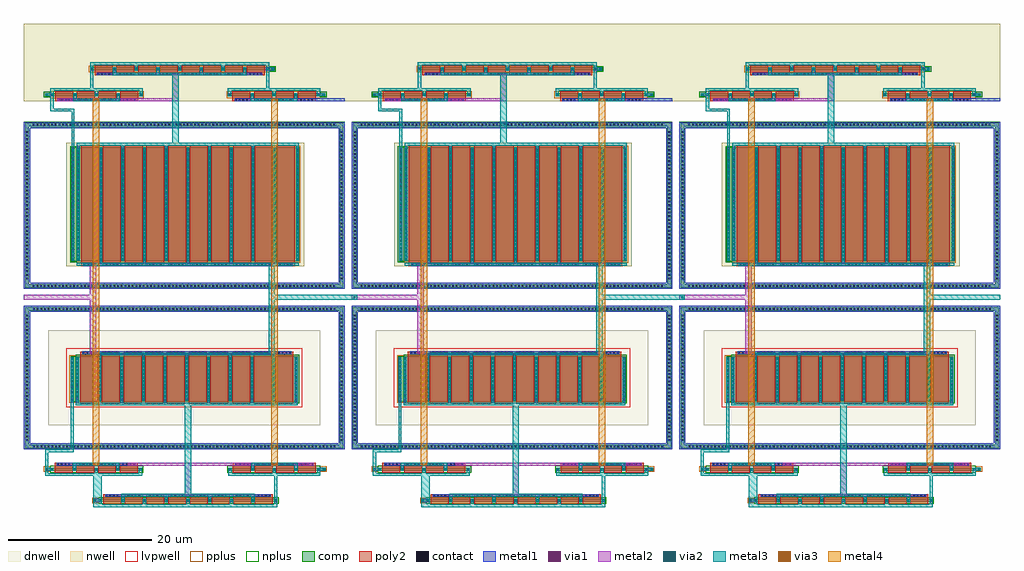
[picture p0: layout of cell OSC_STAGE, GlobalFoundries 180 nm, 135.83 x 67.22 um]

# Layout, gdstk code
from math import pi, radians
import gdstk
lib = gdstk.Library(unit=1e-6, precision=5e-09)
def R(c, l, rs):  # rectangles x0, y0, x1, y1
    for r in rs: c.add(gdstk.rectangle(r[:2], r[2:], *l))
def A(c, l, x, y, w, h, nx, ny, dx, dy):  # array of equal rectangles
    R(c, l, [(x+i*dx, y+j*dy, x+i*dx+w, y+j*dy+h) for i in range(nx) for j in range(ny)])
def P(c, l, *ps):  # polygons
    for p in ps: c.add(gdstk.Polygon(p, *l))
dnwell = (12, 0)
nwell = (21, 0)
comp = (22, 0)
poly2 = (30, 0)
pplus = (31, 0)
nplus = (32, 0)
contact = (33, 0)
metal1 = (34, 0)
via1 = (35, 0)
metal2 = (36, 0)
via2 = (38, 0)
via3 = (40, 0)
metal3 = (42, 0)
metal4 = (46, 0)
lvpwell = (204, 0)

nfet_2 = lib.new_cell('nfet$2')
R(nfet_2, comp, [(-0.42,-0.01,0,0.43), (11.94,-0.01,12.36,0.43), (12.36,-0.01,13.07,0.43), (0,0,11.94,0.42)])
A(nfet_2, poly2, 0.19, -0.3, 2.5, 1.02, 4, 1, 3.02, 0)
A(nfet_2, poly2, 0.19, 0.72, 2.5, 0.36, 4, 1, 3.02, 0)
R(nfet_2, pplus, [(12.36,-0.17,13.24,0.59)])
R(nfet_2, nplus, [(-0.59,-0.25,12.36,0.67)])
A(nfet_2, contact, 2.84, 0.1, 0.22, 0.22, 3, 1, 3.02, 0)
A(nfet_2, contact, 0.565, 0.79, 0.22, 0.22, 4, 1, 0.51, 0)
A(nfet_2, contact, 3.585, 0.79, 0.22, 0.22, 4, 1, 0.51, 0)
A(nfet_2, contact, 6.605, 0.79, 0.22, 0.22, 4, 1, 0.51, 0)
A(nfet_2, contact, 9.625, 0.79, 0.22, 0.22, 4, 1, 0.51, 0)
R(nfet_2, contact, [(-0.32,0.1,-0.1,0.32), (12.04,0.1,12.26,0.32), (12.75,0.1,12.97,0.32)])
A(nfet_2, metal1, 2.76, 0.02, 0.38, 0.38, 3, 1, 3.02, 0)
A(nfet_2, metal1, 0.485, 0.71, 1.91, 0.38, 4, 1, 3.02, 0)
R(nfet_2, metal1, [(-0.4,0.02,-0.02,0.4), (11.96,0.02,12.34,0.4), (12.67,0.02,13.05,0.4)])

pfet_6 = lib.new_cell('pfet$6')
R(pfet_6, nwell, [(-1.16,-0.71,13.83,1.13)])
R(pfet_6, comp, [(-0.46,-0.01,0,0.43), (11.94,-0.01,12.4,0.43), (12.4,-0.01,13.13,0.43), (0,0,11.94,0.42)])
A(pfet_6, poly2, 0.19, -0.3, 2.5, 1.02, 4, 1, 3.02, 0)
A(pfet_6, poly2, 0.19, 0.72, 2.5, 0.38, 4, 1, 3.02, 0)
R(pfet_6, pplus, [(-0.63,-0.25,12.4,0.67)])
R(pfet_6, nplus, [(12.4,-0.17,13.3,0.59)])
A(pfet_6, contact, 2.84, 0.1, 0.22, 0.22, 3, 1, 3.02, 0)
A(pfet_6, contact, 0.565, 0.8, 0.22, 0.22, 4, 1, 0.51, 0)
A(pfet_6, contact, 3.585, 0.8, 0.22, 0.22, 4, 1, 0.51, 0)
A(pfet_6, contact, 6.605, 0.8, 0.22, 0.22, 4, 1, 0.51, 0)
A(pfet_6, contact, 9.625, 0.8, 0.22, 0.22, 4, 1, 0.51, 0)
R(pfet_6, contact, [(-0.34,0.1,-0.12,0.32), (12.06,0.1,12.28,0.32), (12.79,0.1,13.01,0.32)])
A(pfet_6, metal1, 2.76, 0.02, 0.38, 0.38, 3, 1, 3.02, 0)
A(pfet_6, metal1, 0.485, 0.72, 1.91, 0.38, 4, 1, 3.02, 0)
R(pfet_6, metal1, [(-0.42,0.02,-0.04,0.4), (11.98,0.02,12.36,0.4), (12.71,0.02,13.09,0.4)])

pfet_7 = lib.new_cell('pfet$7')
R(pfet_7, nwell, [(-1.16,-0.71,13.83,1.13)])
R(pfet_7, comp, [(-0.46,-0.01,0,0.43), (11.94,-0.01,12.4,0.43), (12.4,-0.01,13.13,0.43), (0,0,11.94,0.42)])
A(pfet_7, poly2, 0.19, -0.3, 2.5, 1.02, 4, 1, 3.02, 0)
A(pfet_7, poly2, 0.19, 0.72, 2.5, 0.38, 4, 1, 3.02, 0)
R(pfet_7, pplus, [(-0.63,-0.25,12.4,0.67)])
R(pfet_7, nplus, [(12.4,-0.17,13.3,0.59)])
A(pfet_7, contact, 2.84, 0.1, 0.22, 0.22, 3, 1, 3.02, 0)
A(pfet_7, contact, 0.565, 0.8, 0.22, 0.22, 4, 1, 0.51, 0)
A(pfet_7, contact, 3.585, 0.8, 0.22, 0.22, 4, 1, 0.51, 0)
A(pfet_7, contact, 6.605, 0.8, 0.22, 0.22, 4, 1, 0.51, 0)
A(pfet_7, contact, 9.625, 0.8, 0.22, 0.22, 4, 1, 0.51, 0)
R(pfet_7, contact, [(-0.34,0.1,-0.12,0.32), (12.06,0.1,12.28,0.32), (12.79,0.1,13.01,0.32)])
A(pfet_7, metal1, 2.76, 0.02, 0.38, 0.38, 3, 1, 3.02, 0)
A(pfet_7, metal1, 0.485, 0.72, 1.91, 0.38, 4, 1, 3.02, 0)
R(pfet_7, metal1, [(-0.42,0.02,-0.04,0.4), (11.98,0.02,12.36,0.4), (12.71,0.02,13.09,0.4)])

pfet = lib.new_cell('pfet')
R(pfet, nwell, [(-1.16,-0.71,25.91,1.13)])
R(pfet, comp, [(-0.46,-0.01,0,0.43), (24.02,-0.01,24.48,0.43), (24.48,-0.01,25.21,0.43), (0,0,24.02,0.42)])
A(pfet, poly2, 0.19, -0.3, 2.5, 1.02, 8, 1, 3.02, 0)
A(pfet, poly2, 0.19, 0.72, 2.5, 0.38, 8, 1, 3.02, 0)
R(pfet, pplus, [(-0.63,-0.25,24.48,0.67)])
R(pfet, nplus, [(24.48,-0.17,25.38,0.59)])
A(pfet, contact, 2.84, 0.1, 0.22, 0.22, 7, 1, 3.02, 0)
A(pfet, contact, 0.565, 0.8, 0.22, 0.22, 4, 1, 0.51, 0)
A(pfet, contact, 3.585, 0.8, 0.22, 0.22, 4, 1, 0.51, 0)
A(pfet, contact, 6.605, 0.8, 0.22, 0.22, 4, 1, 0.51, 0)
A(pfet, contact, 9.625, 0.8, 0.22, 0.22, 4, 1, 0.51, 0)
A(pfet, contact, 12.645, 0.8, 0.22, 0.22, 4, 1, 0.51, 0)
A(pfet, contact, 15.665, 0.8, 0.22, 0.22, 4, 1, 0.51, 0)
A(pfet, contact, 18.685, 0.8, 0.22, 0.22, 4, 1, 0.51, 0)
A(pfet, contact, 21.705, 0.8, 0.22, 0.22, 4, 1, 0.51, 0)
R(pfet, contact, [(-0.34,0.1,-0.12,0.32), (24.14,0.1,24.36,0.32), (24.87,0.1,25.09,0.32)])
A(pfet, metal1, 2.76, 0.02, 0.38, 0.38, 7, 1, 3.02, 0)
A(pfet, metal1, 0.485, 0.72, 1.91, 0.38, 8, 1, 3.02, 0)
R(pfet, metal1, [(-0.42,0.02,-0.04,0.4), (24.06,0.02,24.44,0.4), (24.79,0.02,25.17,0.4)])

nfet_1 = lib.new_cell('nfet$1')
R(nfet_1, comp, [(-0.42,-0.01,0,0.43), (24.02,-0.01,24.44,0.43), (24.44,-0.01,25.15,0.43), (0,0,24.02,0.42)])
A(nfet_1, poly2, 0.19, -0.3, 2.5, 1.02, 8, 1, 3.02, 0)
A(nfet_1, poly2, 0.19, 0.72, 2.5, 0.36, 8, 1, 3.02, 0)
R(nfet_1, pplus, [(24.44,-0.17,25.32,0.59)])
R(nfet_1, nplus, [(-0.59,-0.25,24.44,0.67)])
A(nfet_1, contact, 2.84, 0.1, 0.22, 0.22, 7, 1, 3.02, 0)
A(nfet_1, contact, 0.565, 0.79, 0.22, 0.22, 4, 1, 0.51, 0)
A(nfet_1, contact, 3.585, 0.79, 0.22, 0.22, 4, 1, 0.51, 0)
A(nfet_1, contact, 6.605, 0.79, 0.22, 0.22, 4, 1, 0.51, 0)
A(nfet_1, contact, 9.625, 0.79, 0.22, 0.22, 4, 1, 0.51, 0)
A(nfet_1, contact, 12.645, 0.79, 0.22, 0.22, 4, 1, 0.51, 0)
A(nfet_1, contact, 15.665, 0.79, 0.22, 0.22, 4, 1, 0.51, 0)
A(nfet_1, contact, 18.685, 0.79, 0.22, 0.22, 4, 1, 0.51, 0)
A(nfet_1, contact, 21.705, 0.79, 0.22, 0.22, 4, 1, 0.51, 0)
R(nfet_1, contact, [(-0.32,0.1,-0.1,0.32), (24.12,0.1,24.34,0.32), (24.83,0.1,25.05,0.32)])
A(nfet_1, metal1, 2.76, 0.02, 0.38, 0.38, 7, 1, 3.02, 0)
A(nfet_1, metal1, 0.485, 0.71, 1.91, 0.38, 8, 1, 3.02, 0)
R(nfet_1, metal1, [(-0.4,0.02,-0.02,0.4), (24.04,0.02,24.42,0.4), (24.75,0.02,25.13,0.4)])

nfet_10 = lib.new_cell('nfet$10')
R(nfet_10, dnwell, [(-3.55,-3.26,34.32,9.96)])
R(nfet_10, comp, [(-0.42,0,0,6.33), (0,0,30.06,6.33), (30.06,0,30.48,6.33), (30.48,0,31.19,6.33)])
P(nfet_10, comp, [(-6.75,-6.46),(-6.75,12.66),(-6.25,12.66),(-6.25,-5.96),(37.02,-5.96),(37.02,12.66),(-6.75,12.66),(-6.75,13.16),(37.52,13.16),(37.52,-6.46)])
A(nfet_10, poly2, 0.19, -0.3, 2.5, 6.93, 10, 1, 3.02, 0)
A(nfet_10, poly2, 0.19, 6.63, 2.5, 0.36, 10, 1, 3.02, 0)
R(nfet_10, pplus, [(30.48,-0.17,31.36,6.5)])
P(nfet_10, pplus, [(-6.92,-6.63),(-6.92,12.49),(-6.08,12.49),(-6.08,-5.79),(36.85,-5.79),(36.85,12.49),(-6.92,12.49),(-6.92,13.33),(37.69,13.33),(37.69,-6.63)])
R(nfet_10, nplus, [(-0.59,-0.24,30.48,6.57)])
A(nfet_10, contact, -5.635, -6.32, 0.22, 0.22, 83, 2, 0.51, 19.12)
A(nfet_10, contact, -6.61, -5.43, 0.22, 0.22, 1, 35, 0, 0.51)
A(nfet_10, contact, 37.16, -5.43, 0.22, 0.22, 1, 35, 0, 0.51)
A(nfet_10, contact, -0.32, 0.25, 0.22, 0.22, 1, 12, 0, 0.51)
A(nfet_10, contact, 2.84, 0.25, 0.22, 0.22, 9, 12, 3.02, 0.51)
A(nfet_10, contact, 30.16, 0.25, 0.22, 0.22, 1, 12, 0, 0.51)
A(nfet_10, contact, 30.87, 0.25, 0.22, 0.22, 1, 12, 0, 0.51)
A(nfet_10, contact, 0.565, 6.7, 0.22, 0.22, 4, 1, 0.51, 0)
A(nfet_10, contact, 3.585, 6.7, 0.22, 0.22, 4, 1, 0.51, 0)
A(nfet_10, contact, 6.605, 6.7, 0.22, 0.22, 4, 1, 0.51, 0)
A(nfet_10, contact, 9.625, 6.7, 0.22, 0.22, 4, 1, 0.51, 0)
A(nfet_10, contact, 12.645, 6.7, 0.22, 0.22, 4, 1, 0.51, 0)
A(nfet_10, contact, 15.665, 6.7, 0.22, 0.22, 4, 1, 0.51, 0)
A(nfet_10, contact, 18.685, 6.7, 0.22, 0.22, 4, 1, 0.51, 0)
A(nfet_10, contact, 21.705, 6.7, 0.22, 0.22, 4, 1, 0.51, 0)
A(nfet_10, contact, 24.725, 6.7, 0.22, 0.22, 4, 1, 0.51, 0)
A(nfet_10, contact, 27.745, 6.7, 0.22, 0.22, 4, 1, 0.51, 0)
A(nfet_10, metal1, 2.76, 0.17, 0.38, 5.99, 9, 1, 3.02, 0)
A(nfet_10, metal1, 0.485, 6.62, 1.91, 0.38, 10, 1, 3.02, 0)
R(nfet_10, metal1, [(-0.4,0.17,-0.02,6.16), (30.08,0.17,30.46,6.16), (30.79,0.17,31.17,6.16)])
R(nfet_10, lvpwell, [(-1.04,-0.75,31.81,7.45)])

nfet = lib.new_cell('nfet')
R(nfet, comp, [(-0.42,-0.01,0,0.43), (11.94,-0.01,12.36,0.43), (12.36,-0.01,13.07,0.43), (0,0,11.94,0.42)])
A(nfet, poly2, 0.19, -0.3, 2.5, 1.02, 4, 1, 3.02, 0)
A(nfet, poly2, 0.19, 0.72, 2.5, 0.36, 4, 1, 3.02, 0)
R(nfet, pplus, [(12.36,-0.17,13.24,0.59)])
R(nfet, nplus, [(-0.59,-0.25,12.36,0.67)])
A(nfet, contact, 2.84, 0.1, 0.22, 0.22, 3, 1, 3.02, 0)
A(nfet, contact, 0.565, 0.79, 0.22, 0.22, 4, 1, 0.51, 0)
A(nfet, contact, 3.585, 0.79, 0.22, 0.22, 4, 1, 0.51, 0)
A(nfet, contact, 6.605, 0.79, 0.22, 0.22, 4, 1, 0.51, 0)
A(nfet, contact, 9.625, 0.79, 0.22, 0.22, 4, 1, 0.51, 0)
R(nfet, contact, [(-0.32,0.1,-0.1,0.32), (12.04,0.1,12.26,0.32), (12.75,0.1,12.97,0.32)])
A(nfet, metal1, 2.76, 0.02, 0.38, 0.38, 3, 1, 3.02, 0)
A(nfet, metal1, 0.485, 0.71, 1.91, 0.38, 4, 1, 3.02, 0)
R(nfet, metal1, [(-0.4,0.02,-0.02,0.4), (11.96,0.02,12.34,0.4), (12.67,0.02,13.05,0.4)])

pfet_4 = lib.new_cell('pfet$4')
R(pfet_4, nwell, [(-1.15,-0.69,31.94,16.515)])
R(pfet_4, comp, [(-0.46,0,0,15.825), (0,0,30.06,15.825), (30.06,0,30.52,15.825), (30.52,0,31.25,15.825)])
A(pfet_4, poly2, 0.19, -0.68, 2.5, 0.38, 10, 1, 3.02, 0)
A(pfet_4, poly2, 0.19, -0.3, 2.5, 16.425, 10, 1, 3.02, 0)
R(pfet_4, pplus, [(-0.63,-0.24,30.52,16.065)])
R(pfet_4, nplus, [(30.52,-0.17,31.42,15.995)])
A(pfet_4, contact, 0.565, -0.6, 0.22, 0.22, 4, 1, 0.51, 0)
A(pfet_4, contact, 3.585, -0.6, 0.22, 0.22, 4, 1, 0.51, 0)
A(pfet_4, contact, 6.605, -0.6, 0.22, 0.22, 4, 1, 0.51, 0)
A(pfet_4, contact, 9.625, -0.6, 0.22, 0.22, 4, 1, 0.51, 0)
A(pfet_4, contact, 12.645, -0.6, 0.22, 0.22, 4, 1, 0.51, 0)
A(pfet_4, contact, 15.665, -0.6, 0.22, 0.22, 4, 1, 0.51, 0)
A(pfet_4, contact, 18.685, -0.6, 0.22, 0.22, 4, 1, 0.51, 0)
A(pfet_4, contact, 21.705, -0.6, 0.22, 0.22, 4, 1, 0.51, 0)
A(pfet_4, contact, 24.725, -0.6, 0.22, 0.22, 4, 1, 0.51, 0)
A(pfet_4, contact, 27.745, -0.6, 0.22, 0.22, 4, 1, 0.51, 0)
A(pfet_4, contact, -0.34, 0.155, 0.22, 0.22, 1, 31, 0, 0.51)
A(pfet_4, contact, 2.84, 0.155, 0.22, 0.22, 9, 31, 3.02, 0.51)
A(pfet_4, contact, 30.18, 0.155, 0.22, 0.22, 1, 31, 0, 0.51)
A(pfet_4, contact, 30.91, 0.155, 0.22, 0.22, 1, 31, 0, 0.51)
A(pfet_4, metal1, 0.485, -0.68, 1.91, 0.38, 10, 1, 3.02, 0)
A(pfet_4, metal1, 2.76, 0.075, 0.38, 15.68, 9, 1, 3.02, 0)
R(pfet_4, metal1, [(-0.42,0.075,-0.04,15.755), (30.1,0.075,30.48,15.755), (30.83,0.075,31.21,15.755)])

osc_inv_v2 = lib.new_cell('OSC_INV_v2')
R(osc_inv_v2, nwell, [(0,-306.74,44.61,-295.98)])
R(osc_inv_v2, comp, [(0.17,-332.67,43.93,-332.17), (43.93,-332.67,44.43,-310.23), (0.17,-332.17,0.67,-310.23), (0.17,-310.23,44.43,-309.73)])
R(osc_inv_v2, nplus, [(0,-332.83,43.77,-331.99), (43.77,-332.83,44.61,-310.41), (0,-331.99,0.84,-310.41), (0,-310.41,44.61,-309.57)])
A(osc_inv_v2, contact, 1.33, -332.53, 0.22, 0.22, 83, 2, 0.51, 22.44)
A(osc_inv_v2, contact, 0.31, -331.51, 0.22, 0.22, 1, 41, 0, 0.51)
A(osc_inv_v2, contact, 44.07, -331.51, 0.22, 0.22, 1, 41, 0, 0.51)
R(osc_inv_v2, metal1, [(12.175,-361.78,32.925,-361.4), (5.465,-357.44,14.765,-357.06), (29.53,-357.44,38.675,-357.06), (0,-355.18,43.77,-354.34), (43.77,-355.18,44.61,-336.06), (0,-354.34,0.84,-336.06), (9.315,-341.93,34.75,-341.55), (0,-336.06,44.61,-335.22), (0,-332.83,43.77,-331.99), (43.77,-332.83,44.61,-310.46), (0,-331.99,0.84,-310.46), (9.165,-329.67,35.66,-329.29), (0,-310.46,44.61,-309.62), (0,-306.71,4.335,-306.33), (6.245,-306.71,14.06,-306.33), (29.56,-306.71,38.085,-306.33), (13.33,-303.12,33.65,-302.74)])
A(osc_inv_v2, via1, 12.6, -362.41, 0.26, 0.26, 7, 1, 3.02, 0)
A(osc_inv_v2, via1, 6.61, -358.07, 0.26, 0.26, 3, 1, 3.02, 0)
A(osc_inv_v2, via1, 31.42, -358.07, 0.26, 0.26, 3, 1, 3.02, 0)
A(osc_inv_v2, via1, 6.58, -347.92, 0.26, 0.26, 1, 11, 0, 0.52)
A(osc_inv_v2, via1, 9.74, -347.92, 0.26, 0.26, 9, 11, 3.02, 0.52)
A(osc_inv_v2, via1, 37.06, -347.92, 0.26, 0.26, 1, 11, 0, 0.52)
A(osc_inv_v2, via1, 37.77, -347.92, 0.26, 0.26, 1, 11, 0, 0.52)
A(osc_inv_v2, via1, 6.41, -328.85, 0.26, 0.26, 1, 30, 0, 0.52)
A(osc_inv_v2, via1, 9.59, -328.85, 0.26, 0.26, 9, 30, 3.02, 0.52)
A(osc_inv_v2, via1, 36.93, -328.85, 0.26, 0.26, 1, 30, 0, 0.52)
A(osc_inv_v2, via1, 37.66, -328.85, 0.26, 0.26, 1, 30, 0, 0.52)
A(osc_inv_v2, via1, 6.67, -305.95, 0.26, 0.26, 3, 1, 3.02, 0)
A(osc_inv_v2, via1, 31.36, -305.95, 0.26, 0.26, 3, 1, 3.02, 0)
A(osc_inv_v2, via1, 13.755, -302.36, 0.26, 0.26, 7, 1, 3.02, 0)
R(osc_inv_v2, via1, [(9.44,-362.41,9.7,-362.15), (33.88,-362.41,34.14,-362.15), (34.59,-362.41,34.85,-362.15), (21.395,-361.72,21.655,-361.46), (21.915,-361.72,22.175,-361.46), (2.74,-358.07,3,-357.81), (3.45,-358.07,3.71,-357.81), (15.81,-358.07,16.07,-357.81), (28.26,-358.07,28.52,-357.81), (40.62,-358.07,40.88,-357.81), (41.33,-358.07,41.59,-357.81), (5.035,-357.38,5.295,-357.12), (5.555,-357.38,5.815,-357.12), (5.555,-357.38,5.815,-357.12), (5.555,-357.38,5.815,-357.12), (6.075,-357.38,6.335,-357.12), (6.075,-357.38,6.335,-357.12), (6.075,-357.38,6.335,-357.12), (6.595,-357.38,6.855,-357.12), (6.595,-357.38,6.855,-357.12), (6.595,-357.38,6.855,-357.12), (7.115,-357.38,7.375,-357.12), (7.115,-357.38,7.375,-357.12), (7.115,-357.38,7.375,-357.12), (7.635,-357.38,7.895,-357.12), (7.635,-357.38,7.895,-357.12), (7.635,-357.38,7.895,-357.12), (8.155,-357.38,8.415,-357.12), (8.155,-357.38,8.415,-357.12), (8.155,-357.38,8.415,-357.12), (8.675,-357.38,8.935,-357.12), (8.675,-357.38,8.935,-357.12), (8.675,-357.38,8.935,-357.12), (9.195,-357.38,9.455,-357.12), (9.195,-357.38,9.455,-357.12), (9.195,-357.38,9.455,-357.12), (9.715,-357.38,9.975,-357.12), (9.715,-357.38,9.975,-357.12), (9.715,-357.38,9.975,-357.12), (10.235,-357.38,10.495,-357.12), (10.235,-357.38,10.495,-357.12), (10.755,-357.38,11.015,-357.12), (10.755,-357.38,11.015,-357.12), (11.275,-357.38,11.535,-357.12), (11.275,-357.38,11.535,-357.12), (11.795,-357.38,12.055,-357.12), (11.795,-357.38,12.055,-357.12), (12.315,-357.38,12.575,-357.12), (12.315,-357.38,12.575,-357.12), (12.835,-357.38,13.095,-357.12), (12.835,-357.38,13.095,-357.12), (13.355,-357.38,13.615,-357.12), (13.355,-357.38,13.615,-357.12), (13.875,-357.38,14.135,-357.12), (13.875,-357.38,14.135,-357.12), (14.395,-357.38,14.655,-357.12), (14.395,-357.38,14.655,-357.12), (14.915,-357.38,15.175,-357.12), (29.155,-357.38,29.415,-357.12), (29.675,-357.38,29.935,-357.12), (37.76,-354.91,38.02,-354.65), (34.64,-341.87,34.9,-341.61), (35.16,-341.87,35.42,-341.61), (34.64,-329.61,34.9,-329.35), (35.16,-329.61,35.42,-329.35), (37.66,-310.13,37.92,-309.87), (29.075,-306.65,29.335,-306.39), (29.595,-306.65,29.855,-306.39), (29.595,-306.65,29.855,-306.39), (30.115,-306.65,30.375,-306.39), (30.115,-306.65,30.375,-306.39), (30.635,-306.65,30.895,-306.39), (30.635,-306.65,30.895,-306.39), (31.155,-306.65,31.415,-306.39), (31.155,-306.65,31.415,-306.39), (31.675,-306.65,31.935,-306.39), (31.675,-306.65,31.935,-306.39), (32.195,-306.65,32.455,-306.39), (32.195,-306.65,32.455,-306.39), (32.715,-306.65,32.975,-306.39), (32.715,-306.65,32.975,-306.39), (33.235,-306.65,33.495,-306.39), (33.235,-306.65,33.495,-306.39), (33.755,-306.65,34.015,-306.39), (33.755,-306.65,34.015,-306.39), (34.275,-306.65,34.535,-306.39), (34.275,-306.65,34.535,-306.39), (34.795,-306.65,35.055,-306.39), (34.795,-306.65,35.055,-306.39), (35.315,-306.65,35.575,-306.39), (35.315,-306.65,35.575,-306.39), (35.835,-306.65,36.095,-306.39), (35.835,-306.65,36.095,-306.39), (36.355,-306.65,36.615,-306.39), (36.355,-306.65,36.615,-306.39), (36.875,-306.65,37.135,-306.39), (36.875,-306.65,37.135,-306.39), (37.395,-306.65,37.655,-306.39), (37.395,-306.65,37.655,-306.39), (37.915,-306.65,38.175,-306.39), (37.915,-306.65,38.175,-306.39), (38.435,-306.65,38.695,-306.39), (38.435,-306.65,38.695,-306.39), (38.955,-306.65,39.215,-306.39), (38.955,-306.65,39.215,-306.39), (39.475,-306.65,39.735,-306.39), (2.76,-305.95,3.02,-305.69), (3.49,-305.95,3.75,-305.69), (15.89,-305.95,16.15,-305.69), (28.18,-305.95,28.44,-305.69), (40.58,-305.95,40.84,-305.69), (41.31,-305.95,41.57,-305.69), (23.105,-303.06,23.365,-302.8), (23.625,-303.06,23.885,-302.8), (9.845,-302.36,10.105,-302.1), (10.575,-302.36,10.835,-302.1), (35.055,-302.36,35.315,-302.1)])
A(osc_inv_v2, metal2, 12.5, -362.505, 0.45, 0.45, 3, 1, 3.02, 0)
A(osc_inv_v2, metal2, 24.58, -362.505, 0.45, 0.45, 3, 1, 3.02, 0)
A(osc_inv_v2, metal2, 6.52, -358.165, 0.45, 0.415, 3, 1, 3.02, 0)
A(osc_inv_v2, metal2, 31.32, -358.165, 0.45, 0.45, 3, 1, 3.02, 0)
A(osc_inv_v2, metal2, 12.7, -348.69, 0.38, 6.3, 4, 1, 6.04, 0)
A(osc_inv_v2, metal2, 9.68, -348.38, 0.38, 6.3, 5, 1, 6.04, 0)
A(osc_inv_v2, metal2, 9.53, -329.225, 0.38, 15.99, 5, 1, 6.04, 0)
A(osc_inv_v2, metal2, 12.55, -328.915, 0.38, 15.995, 4, 1, 6.04, 0)
A(osc_inv_v2, metal2, 6.58, -306.045, 0.45, 0.45, 3, 1, 3.02, 0)
A(osc_inv_v2, metal2, 31.26, -306.045, 0.45, 0.45, 3, 1, 3.02, 0)
A(osc_inv_v2, metal2, 13.665, -302.455, 0.45, 0.45, 7, 1, 3.02, 0)
R(osc_inv_v2, metal2, [(9.34,-362.505,9.79,-362.055), (21.56,-362.505,22.01,-362.09), (33.78,-362.505,34.23,-362.055), (34.23,-362.505,34.94,-362.055), (21.335,-361.78,22.235,-357.06), (2.65,-358.165,3.36,-357.715), (3.36,-358.165,3.81,-357.715), (15.72,-358.165,16.17,-357.75), (28.16,-358.165,28.61,-357.75), (40.52,-358.165,41.23,-357.715), (41.23,-358.165,41.68,-357.715), (4.27,-357.44,21.335,-357.06), (22.235,-357.44,30.205,-357.06), (37.69,-355.18,38.09,-354.34), (6.52,-348.69,6.9,-342.39), (37,-348.69,37.38,-342.39), (37.71,-348.69,38.09,-342.39), (34.58,-341.93,35.48,-329.29), (35.48,-334.39,40.84,-333.63), (40.84,-334.39,43.85,-333.63), (43.85,-334.39,44.61,-333.63), (6.35,-328.92,6.73,-312.92), (37.6,-328.915,37.98,-313.235), (36.87,-328.91,37.25,-312.92), (37.6,-310.46,37.98,-309.62), (23.045,-306.71,23.945,-302.74), (23.945,-306.71,39.995,-306.33), (2.67,-306.045,3.4,-305.595), (3.4,-306.045,3.85,-305.595), (15.8,-306.045,16.25,-305.595), (28.08,-306.045,28.53,-305.595), (40.48,-306.045,40.93,-305.595), (40.93,-306.045,41.66,-305.595), (9.755,-302.455,10.205,-302.005), (10.485,-302.455,10.935,-302.005), (34.965,-302.455,35.415,-302.005)])
A(osc_inv_v2, via2, 12.6, -362.41, 0.26, 0.26, 7, 1, 3.02, 0)
A(osc_inv_v2, via2, 6.61, -358.07, 0.26, 0.26, 3, 1, 3.02, 0)
A(osc_inv_v2, via2, 31.42, -358.07, 0.26, 0.26, 3, 1, 3.02, 0)
A(osc_inv_v2, via2, 6.58, -347.92, 0.26, 0.26, 1, 11, 0, 0.52)
A(osc_inv_v2, via2, 9.74, -347.92, 0.26, 0.26, 9, 11, 3.02, 0.52)
A(osc_inv_v2, via2, 37.06, -347.92, 0.26, 0.26, 1, 11, 0, 0.52)
A(osc_inv_v2, via2, 37.77, -347.92, 0.26, 0.26, 1, 11, 0, 0.52)
A(osc_inv_v2, via2, 6.41, -328.85, 0.26, 0.26, 1, 30, 0, 0.52)
A(osc_inv_v2, via2, 9.59, -328.85, 0.26, 0.26, 9, 30, 3.02, 0.52)
A(osc_inv_v2, via2, 36.93, -328.85, 0.26, 0.26, 1, 30, 0, 0.52)
A(osc_inv_v2, via2, 37.66, -328.85, 0.26, 0.26, 1, 30, 0, 0.52)
A(osc_inv_v2, via2, 6.67, -305.95, 0.26, 0.26, 3, 1, 3.02, 0)
A(osc_inv_v2, via2, 31.36, -305.95, 0.26, 0.26, 3, 1, 3.02, 0)
A(osc_inv_v2, via2, 13.75, -302.36, 0.26, 0.26, 7, 1, 3.02, 0)
R(osc_inv_v2, via2, [(9.44,-362.41,9.7,-362.15), (33.88,-362.41,34.14,-362.15), (34.59,-362.41,34.85,-362.15), (2.74,-358.07,3,-357.81), (3.45,-358.07,3.71,-357.81), (15.81,-358.07,16.07,-357.81), (28.26,-358.07,28.52,-357.81), (40.62,-358.07,40.88,-357.81), (41.33,-358.07,41.59,-357.81), (9.37,-357.38,9.63,-357.12), (9.89,-357.38,10.15,-357.12), (37.76,-354.91,38.02,-354.65), (6.41,-328.85,6.67,-328.59), (37.66,-310.13,37.92,-309.87), (34.175,-306.675,34.435,-306.415), (34.695,-306.675,34.955,-306.415), (2.76,-305.95,3.02,-305.69), (3.49,-305.95,3.75,-305.69), (15.89,-305.95,16.15,-305.69), (15.89,-305.95,16.15,-305.69), (28.18,-305.95,28.44,-305.69), (40.58,-305.95,40.84,-305.69), (41.31,-305.95,41.57,-305.69), (9.84,-302.36,10.1,-302.1), (10.57,-302.36,10.83,-302.1), (35.05,-302.36,35.31,-302.1)])
R(osc_inv_v2, via3, [(9.37,-357.35,9.63,-357.09), (9.89,-357.35,10.15,-357.09), (34.175,-357.345,34.435,-357.085), (34.695,-357.345,34.955,-357.085), (34.175,-306.675,34.435,-306.415), (34.695,-306.675,34.955,-306.415), (9.37,-306.67,9.63,-306.41), (9.89,-306.67,10.15,-306.41)])
A(osc_inv_v2, metal3, 15.52, -362.815, 0.45, 0.76, 3, 1, 6.04, 0)
A(osc_inv_v2, metal3, 12.5, -362.505, 0.45, 0.76, 4, 1, 6.04, 0)
A(osc_inv_v2, metal3, 12.7, -348.69, 0.38, 6.3, 4, 1, 6.04, 0)
A(osc_inv_v2, metal3, 9.68, -348.38, 0.38, 6.3, 5, 1, 6.04, 0)
A(osc_inv_v2, metal3, 9.53, -329.225, 0.38, 15.99, 5, 1, 6.04, 0)
A(osc_inv_v2, metal3, 12.55, -328.915, 0.38, 15.995, 4, 1, 6.04, 0)
A(osc_inv_v2, metal3, 3.4, -306.045, 0.45, 0.76, 3, 1, 6.2, 0)
A(osc_inv_v2, metal3, 28.08, -306.045, 0.45, 0.76, 3, 1, 6.2, 0)
A(osc_inv_v2, metal3, 13.66, -302.765, 0.45, 0.76, 4, 1, 6.04, 0)
A(osc_inv_v2, metal3, 16.68, -302.455, 0.45, 0.76, 3, 1, 6.04, 0)
R(osc_inv_v2, metal3, [(9.34,-363.2,34.94,-362.815), (9.34,-362.815,9.79,-362.055), (33.78,-362.815,34.23,-362.055), (34.23,-362.815,34.94,-362.055), (9.34,-362.055,9.79,-358.855), (33.78,-362.055,34.94,-358.855), (12.5,-361.745,31.07,-361.365), (21.335,-361.365,22.235,-349.07), (3.36,-358.855,16.17,-358.475), (28.16,-358.855,41.68,-358.475), (3.36,-358.475,3.81,-357.715), (9.54,-358.475,9.99,-357.715), (15.72,-358.475,16.17,-357.75), (28.16,-358.475,28.61,-357.75), (34.34,-358.475,34.79,-357.715), (41.23,-358.475,41.68,-357.715), (2.65,-358.165,3.36,-357.715), (6.52,-358.165,6.97,-357.405), (12.56,-358.165,13.01,-357.405), (31.32,-358.165,31.77,-357.405), (37.36,-358.165,37.81,-357.405), (40.52,-358.165,41.23,-357.715), (41.23,-357.715,41.68,-355.58), (6.52,-357.405,13.01,-357.025), (31.32,-357.405,37.81,-357.025), (37.69,-355.58,41.68,-355.18), (37.69,-355.18,38.09,-348.69), (6.52,-349.07,37.38,-348.69), (6.52,-348.69,6.9,-342.39), (37,-348.69,37.38,-342.39), (37.69,-348.69,38.09,-342.39), (9.68,-342.08,34.22,-341.7), (9.68,-341.7,10.58,-329.61), (0,-334.39,9.68,-333.63), (6.36,-329.61,37.26,-329.225), (6.35,-328.92,6.73,-312.92), (37.6,-328.915,37.98,-313.235), (36.87,-328.91,37.25,-312.92), (37.6,-313.235,37.98,-308.13), (6.35,-312.92,37.25,-312.54), (23.045,-312.54,23.945,-303.145), (37.6,-308.13,40.93,-307.75), (40.48,-307.75,40.93,-306.045), (6.58,-306.745,13.07,-306.355), (31.26,-306.735,37.75,-306.355), (6.58,-306.355,7.03,-305.595), (12.62,-306.355,13.07,-305.595), (31.26,-306.355,31.71,-305.595), (37.3,-306.355,37.75,-305.595), (2.67,-306.045,3.4,-305.595), (40.93,-306.045,41.66,-305.595), (3.4,-305.285,16.25,-304.905), (28.08,-305.285,40.93,-304.905), (10.48,-304.905,10.93,-302.455), (34.96,-304.905,35.41,-302.455), (13.66,-303.145,32.23,-302.765), (9.75,-302.455,10.48,-302.005), (10.48,-302.455,10.93,-301.695), (34.96,-302.455,35.41,-301.695), (10.48,-301.695,35.41,-301.315)])
R(osc_inv_v2, metal4, [(9.31,-357.405,10.21,-306.355), (34.115,-357.405,35.015,-306.355)])
osc_inv_v2.add(gdstk.Reference(nfet_2, (28.6,-358.15)))
osc_inv_v2.add(gdstk.Reference(pfet_6, (28.54,-305.61), x_reflection=True))
osc_inv_v2.add(gdstk.Reference(pfet_7, (15.79,-305.61), rotation=pi))
osc_inv_v2.add(gdstk.Reference(pfet, (34.955,-302.02), rotation=pi))
osc_inv_v2.add(gdstk.Reference(nfet_1, (9.78,-362.49)))
osc_inv_v2.add(gdstk.Reference(nfet_10, (6.92,-348.55)))
osc_inv_v2.add(gdstk.Reference(nfet, (15.73,-358.15), rotation=pi, x_reflection=True))
osc_inv_v2.add(gdstk.Reference(pfet_4, (6.77,-328.99)))
osc_inv_v2.add(gdstk.Label('Vcont', (0.32,-306.56), layer=34, texttype=10))
osc_inv_v2.add(gdstk.Label('VOUT', (0.2,-333.9), layer=42, texttype=10))
osc_inv_v2.add(gdstk.Label('VDD', (35.14,-301.48), layer=42, texttype=10))
osc_inv_v2.add(gdstk.Label('VSS', (34.94,-363.01), layer=42, texttype=10))
osc_inv_v2.add(gdstk.Label('VIN', (44.45,-333.74), layer=36, texttype=10))

osc_stage = lib.new_cell('OSC_STAGE')
R(osc_stage, nwell, [(44.61,56.46,45.61,67.22), (90.22,56.46,91.22,67.22)])
R(osc_stage, via2, [(45.86,29.04,46.12,29.3), (91.47,29.04,91.73,29.3)])
R(osc_stage, metal3, [(44.61,28.81,46.37,29.57), (90.22,28.81,91.98,29.57)])
osc_stage.add(gdstk.Reference(osc_inv_v2, (44.61,363.2), rotation=pi, x_reflection=True))
osc_stage.add(gdstk.Reference(osc_inv_v2, (90.22,363.2), rotation=pi, x_reflection=True))
osc_stage.add(gdstk.Reference(osc_inv_v2, (135.83,363.2), rotation=pi, x_reflection=True))

lib.write_gds('OSC_STAGE.gds')
